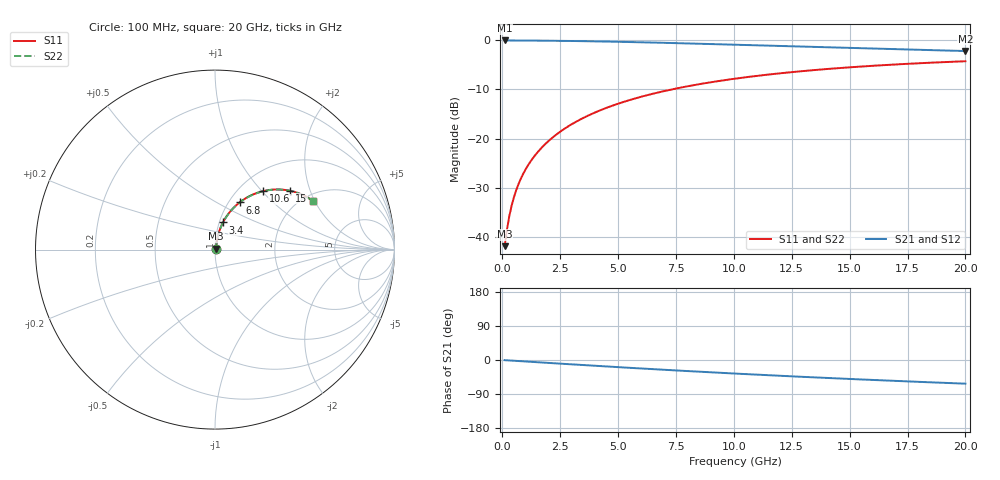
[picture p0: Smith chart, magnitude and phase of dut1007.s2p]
! Touchstone file exported from HFSS 2026.1.0
!  File:  C:/ffzhzh/LocalFiles/Ansys_Project_Files/temp_train_BSMRDL_1007_1783173211_18472.aedt
!  Generated:  09:54:54 PM Jul  4, 2026
!  Design:  BSMRDL
!  Project:  temp_train_BSMRDL_1007_1783173211_18472
! Variables:
!  h_bsmrdl = 4.02um
!  h_ox = 20um
!  h_rdl = 5um
!  h_sub = 80um
!  h_tmrdl = 5um
!  h_tsv = 80um
!  h_via = 3um
!  l_bsmrdl = 938.92um
!  l_sub = 1338.92um
!  l_tmrdl = 200um
!  m_sub = 200um
!  pitch = 49.43um
!  r_tsv = 6um
!  s_tmrdl = 10um
!  w_bsmrdl = 13.03um
!  w_sub = 500um
!  w_tmrdl = 12um
!  x_tsv_center1 = 206um
!  x_tsv_center2 = 1157.95um
!  x_tsv_center3 = 1369.95um
!  x_tsv_center4 = 2321.9um
!  x_tsv_center5 = 2533.9um
!  x_tsv_center6 = 3485.85um
# GHz S MA R 50.000000
! Terminal data exported
! Port[1] = BSM_RDL1_1_T1
! Port[2] = BSM_RDL1_1_T2
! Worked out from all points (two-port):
!   200 points, 100 MHz to 20 GHz, reference 50 ohm
!   highest |S21| = -0.06 dB at 100 MHz (marker M1); lowest = -2.2 dB at 20 GHz (marker M2)
!   |S21| within 3 dB of the highest: start of sweep to end of sweep
!   lowest |S11| = -41.9 dB at 100 MHz (marker M3), VSWR 1.02, Z = 50.6 + j0.497 ohm
!   |S11| at or under -10 dB: start of sweep to 7.339 GHz
!   |S22| runs from -41.9 to -4.3 dB; largest |S21 - S12| = 4.1e-15
!   S11 on the Smith chart (normalised r, x): 100 MHz: 1.01, +0.01; 3.4 GHz: 1.04, +0.32; 6.8 GHz: 1.12, +0.65; 10.6 GHz: 1.28, +1.02; 15 GHz: 1.60, +1.46; 20 GHz: 2.26, +1.95
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0.1  0.008032 37.6  0.9937 -0.4  0.9937 -0.4  0.008032 37.6
! Gamma 0 0 0 0
! Port Impedance 50 0 50 0
0.2  0.01177 56.0  0.9935 -0.8  0.9935 -0.8  0.01177 56.0
0.3  0.0161 64.7  0.9933 -1.2  0.9933 -1.2  0.0161 64.7
0.4  0.02061 69.3  0.9931 -1.6  0.9931 -1.6  0.02061 69.3
0.5  0.02517 72.2  0.9928 -2.0  0.9928 -2.0  0.02517 72.2
0.6  0.02976 74.0  0.9926 -2.4  0.9926 -2.4  0.02976 74.0
0.8  0.03898 76.2  0.9921 -3.1  0.9921 -3.1  0.03898 76.2
1.1  0.05286 77.7  0.9912 -4.3  0.9912 -4.3  0.05286 77.7
1.5  0.07138 78.0  0.9898 -5.8  0.9898 -5.8  0.07138 78.0
2  0.09443 77.4  0.9875 -7.7  0.9875 -7.7  0.09443 77.4
2.6  0.1218 76.0  0.9841 -10.0  0.9841 -10.0  0.1218 76.0
3.4  0.1576 73.7  0.9783 -13.0  0.9783 -13.0  0.1576 73.6
3.5  0.162 73.4  0.9775 -13.4  0.9775 -13.4  0.162 73.3
5  0.2258 68.4  0.9634 -18.9  0.9634 -18.9  0.2258 68.4
6.8  0.2965 62.4  0.9426 -25.2  0.9426 -25.2  0.2965 62.4
8.3  0.3499 57.6  0.9231 -30.2  0.9231 -30.2  0.3499 57.5
10.1  0.4075 52.0  0.8985 -35.9  0.8985 -35.9  0.4075 52.0
10.6  0.4222 50.5  0.8915 -37.5  0.8915 -37.5  0.4222 50.5
13.4  0.495 42.6  0.8531 -45.7  0.8531 -45.7  0.495 42.5
15  0.5297 38.3  0.8322 -50.0  0.8322 -50.0  0.5297 38.2
16.7  0.5616 34.0  0.8113 -54.5  0.8113 -54.5  0.5616 33.9
20  0.6106 26.2  0.7761 -62.5  0.7761 -62.5  0.6106 26.1
